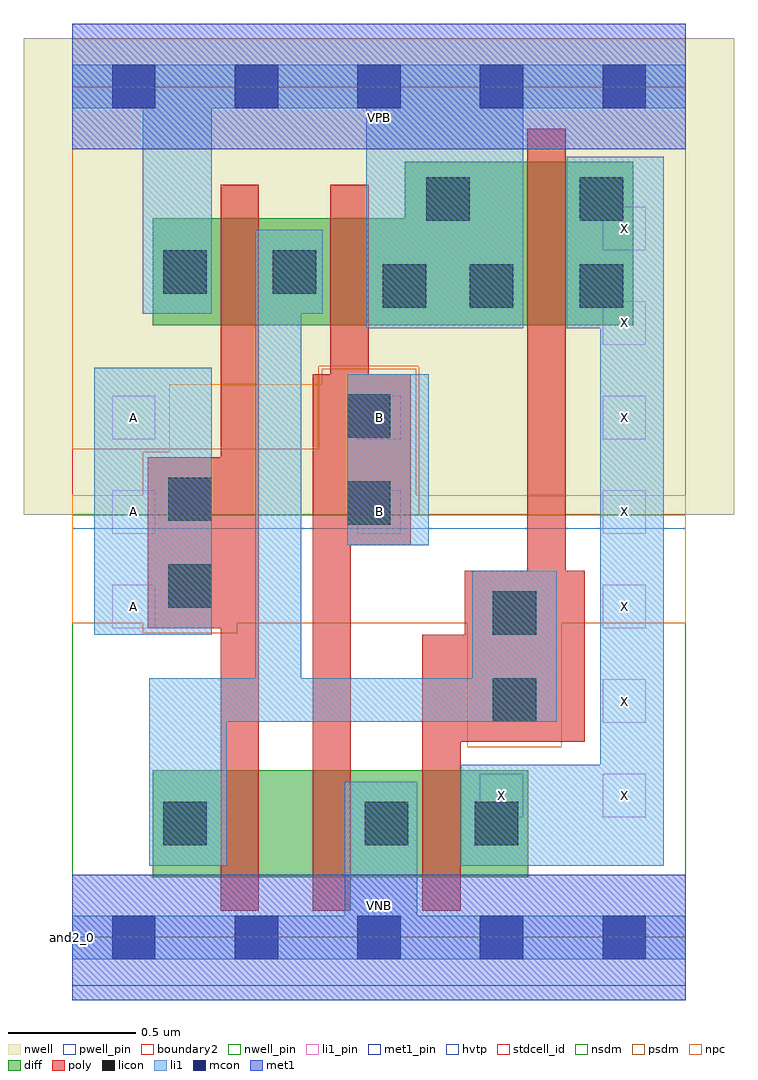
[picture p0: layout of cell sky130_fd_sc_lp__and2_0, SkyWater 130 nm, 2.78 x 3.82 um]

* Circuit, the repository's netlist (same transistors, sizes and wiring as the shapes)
* Copyright 2020 The SkyWater PDK Authors
*
* Licensed under the Apache License, Version 2.0 (the "License");
* you may not use this file except in compliance with the License.
* You may obtain a copy of the License at
*
*     https://www.apache.org/licenses/LICENSE-2.0
*
* Unless required by applicable law or agreed to in writing, software
* distributed under the License is distributed on an "AS IS" BASIS,
* WITHOUT WARRANTIES OR CONDITIONS OF ANY KIND, either express or implied.
* See the License for the specific language governing permissions and
* limitations under the License.
*
* SPDX-License-Identifier: Apache-2.0

.SUBCKT sky130_fd_sc_lp__and2_0 A B VGND VNB VPB VPWR X
*.PININFO A:I B:I VGND:I VNB:I VPB:I VPWR:I X:O
MMP0 y A VPWR VPB sky130_fd_pr__pfet_01v8_hvt m=1 w=0.42U l=0.15U mult=1 sa=0.265
+ sb=0.265 sd=0.28 area=0.063 perim=1.14
MMP1 y B VPWR VPB sky130_fd_pr__pfet_01v8_hvt m=1 w=0.42U l=0.15U mult=1 sa=0.265
+ sb=0.265 sd=0.28 area=0.063 perim=1.14
MMIP0 X y VPWR VPB sky130_fd_pr__pfet_01v8_hvt m=1 w=0.64U l=0.15U mult=1 sa=0.265
+ sb=0.265 sd=0.28 area=0.063 perim=1.14
MMN0 y A sndA VNB sky130_fd_pr__nfet_01v8 m=1 w=0.42U l=0.15U mult=1 sa=0.265 sb=0.265
+ sd=0.28 area=0.063 perim=1.14
MMN1 sndA B VGND VNB sky130_fd_pr__nfet_01v8 m=1 w=0.42U l=0.15U mult=1 sa=0.265
+ sb=0.265 sd=0.28 area=0.063 perim=1.14
MMIN0 X y VGND VNB sky130_fd_pr__nfet_01v8 m=1 w=0.42U l=0.15U mult=1 sa=0.265
+ sb=0.265 sd=0.28 area=0.063 perim=1.14
.ENDS sky130_fd_sc_lp__and2_0

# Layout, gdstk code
import gdstk
lib = gdstk.Library(unit=1e-6, precision=1e-09)
def R(c, l, rs):  # rectangles x0, y0, x1, y1
    for r in rs: c.add(gdstk.rectangle(r[:2], r[2:], *l))
def A(c, l, x, y, w, h, nx, ny, dx, dy):  # array of equal rectangles
    R(c, l, [(x+i*dx, y+j*dy, x+i*dx+w, y+j*dy+h) for i in range(nx) for j in range(ny)])
def P(c, l, *ps):  # polygons
    for p in ps: c.add(gdstk.Polygon(p, *l))
nwell_pin = (64, 16)
nwell = (64, 20)
diff = (65, 20)
poly = (66, 20)
licon = (66, 44)
li1_pin = (67, 16)
li1 = (67, 20)
mcon = (67, 44)
met1_pin = (68, 16)
met1 = (68, 20)
hvtp = (78, 44)
stdcell_id = (81, 4)
nsdm = (93, 44)
psdm = (94, 20)
npc = (95, 20)
pwell_pin = (122, 16)
boundary2 = (236, 0)

sky130_fd_sc_lp__and2_0 = lib.new_cell('sky130_fd_sc_lp__and2_0')
R(sky130_fd_sc_lp__and2_0, nwell_pin, [(0,3.085,2.4,3.33)])
R(sky130_fd_sc_lp__and2_0, nwell, [(-0.19,1.655,2.59,3.52)])
R(sky130_fd_sc_lp__and2_0, diff, [(0.315,0.235,1.785,0.655)])
P(sky130_fd_sc_lp__and2_0, diff, [(2.195,3.035),(1.3,3.035),(1.3,2.815),(0.315,2.815),(0.315,2.395),(2.195,2.395)])
P(sky130_fd_sc_lp__and2_0, poly, [(0.73,2.945),(0.58,2.945),(0.58,1.88),(0.295,1.88),(0.295,1.21),(0.58,1.21),(0.58,0.105),(0.73,0.105)],
  [(1.325,2.205),(1.16,2.205),(1.16,2.945),(1.01,2.945),(1.01,2.205),(0.94,2.205),(0.94,0.105),(1.09,0.105),(1.09,1.535),(1.325,1.535)],
  [(2.005,1.435),(1.93,1.435),(1.93,3.165),(1.78,3.165),(1.78,1.435),(1.535,1.435),(1.535,1.185),(1.37,1.185),(1.37,0.105),(1.52,0.105),(1.52,0.765),(2.005,0.765)])
R(sky130_fd_sc_lp__and2_0, licon, [(0.355,0.36,0.525,0.53), (1.145,0.36,1.315,0.53), (1.575,0.36,1.745,0.53), (1.645,0.845,1.815,1.015), (1.645,1.185,1.815,1.355), (0.375,1.29,0.545,1.46), (1.075,1.615,1.245,1.785), (0.375,1.63,0.545,1.8), (1.075,1.955,1.245,2.125), (1.215,2.465,1.385,2.635), (1.555,2.465,1.725,2.635), (1.985,2.465,2.155,2.635), (0.355,2.52,0.525,2.69), (0.785,2.52,0.955,2.69), (1.385,2.805,1.555,2.975), (1.985,2.805,2.155,2.975)])
A(sky130_fd_sc_lp__and2_0, li1_pin, 2.075, 0.47, 0.17, 0.17, 1, 3, 0, 0.37)
A(sky130_fd_sc_lp__and2_0, li1_pin, 0.155, 1.58, 0.17, 0.17, 3, 2, 0.96, 0.37)
R(sky130_fd_sc_lp__and2_0, li1_pin, [(1.595,0.47,1.765,0.64), (0.155,1.21,0.325,1.38), (2.075,2.32,2.245,2.49), (2.075,2.69,2.245,2.86)])
R(sky130_fd_sc_lp__and2_0, li1, [(0.085,1.185,0.545,2.23), (1.075,1.535,1.395,2.205)])
P(sky130_fd_sc_lp__and2_0, li1, [(2.4,3.415),(0,3.415),(0,3.245),(0.275,3.245),(0.275,2.44),(0.545,2.44),(0.545,3.245),(1.15,3.245),(1.15,2.385),(1.765,2.385),(1.765,3.245),(2.4,3.245)],
  [(1.895,1.435),(1.565,1.435),(1.565,1.015),(0.895,1.015),(0.895,2.44),(0.98,2.44),(0.98,2.77),(0.715,2.77),(0.715,1.015),(0.3,1.015),(0.3,0.28),(0.605,0.28),(0.605,0.845),(1.895,0.845)],
  [(2.315,3.055),(1.935,3.055),(1.935,2.385),(2.065,2.385),(2.065,0.675),(1.52,0.675),(1.52,0.28),(2.315,0.28)],
  [(2.4,0.085),(1.35,0.085),(1.35,0.61),(1.065,0.61),(1.065,0.085),(0,0.085),(0,-0.085),(2.4,-0.085)])
A(sky130_fd_sc_lp__and2_0, mcon, 0.155, -0.085, 0.17, 0.17, 5, 2, 0.48, 3.33)
R(sky130_fd_sc_lp__and2_0, met1_pin, [(0,0,2.4,0.245), (0,3.085,2.4,3.33)])
R(sky130_fd_sc_lp__and2_0, met1, [(0,-0.245,2.4,0.245), (0,3.085,2.4,3.575)])
R(sky130_fd_sc_lp__and2_0, hvtp, [(0,1.6,2.4,3.33)])
R(sky130_fd_sc_lp__and2_0, stdcell_id, [(0,0,2.4,3.33)])
R(sky130_fd_sc_lp__and2_0, nsdm, [(0,-0.19,2.4,1.655)])
P(sky130_fd_sc_lp__and2_0, psdm, [(2.4,3.52),(0,3.52),(0,1.91),(0.965,1.91),(0.965,2.235),(1.355,2.235),(1.355,1.655),(2.4,1.655)])
P(sky130_fd_sc_lp__and2_0, npc, [(2.4,1.73),(1.345,1.73),(1.345,2.225),(0.975,2.225),(0.975,2.165),(0.38,2.165),(0.38,1.9),(0.275,1.9),(0.275,1.73),(0,1.73),(0,1.23),(0.275,1.23),(0.275,1.19),(0.645,1.19),(0.645,1.23),(1.545,1.23),(1.545,0.745),(1.915,0.745),(1.915,1.23),(2.4,1.23)])
R(sky130_fd_sc_lp__and2_0, pwell_pin, [(0,0,2.4,0.245)])
R(sky130_fd_sc_lp__and2_0, boundary2, [(0,0,2.4,3.33)])
sky130_fd_sc_lp__and2_0.add(gdstk.Label('VNB', (1.2,0.123), layer=64, texttype=59))
sky130_fd_sc_lp__and2_0.add(gdstk.Label('VPB', (1.2,3.208), layer=64, texttype=5))
sky130_fd_sc_lp__and2_0.add(gdstk.Label('and2_0', (0,0), layer=83, texttype=44))
sky130_fd_sc_lp__and2_0.add(gdstk.Label('VPWR', (1.2,3.208), layer=68, texttype=5))
sky130_fd_sc_lp__and2_0.add(gdstk.Label('VGND', (1.2,0.123), layer=68, texttype=5))
sky130_fd_sc_lp__and2_0.add(gdstk.Label('X', (1.68,0.555), layer=67, texttype=5))
sky130_fd_sc_lp__and2_0.add(gdstk.Label('X', (2.16,0.555), layer=67, texttype=5))
sky130_fd_sc_lp__and2_0.add(gdstk.Label('A', (0.24,1.295), layer=67, texttype=5))
sky130_fd_sc_lp__and2_0.add(gdstk.Label('A', (0.24,1.665), layer=67, texttype=5))
sky130_fd_sc_lp__and2_0.add(gdstk.Label('A', (0.24,2.035), layer=67, texttype=5))
sky130_fd_sc_lp__and2_0.add(gdstk.Label('B', (1.2,1.665), layer=67, texttype=5))
sky130_fd_sc_lp__and2_0.add(gdstk.Label('B', (1.2,2.035), layer=67, texttype=5))
sky130_fd_sc_lp__and2_0.add(gdstk.Label('X', (2.16,2.775), layer=67, texttype=5))
sky130_fd_sc_lp__and2_0.add(gdstk.Label('X', (2.16,2.405), layer=67, texttype=5))
sky130_fd_sc_lp__and2_0.add(gdstk.Label('X', (2.16,2.035), layer=67, texttype=5))
sky130_fd_sc_lp__and2_0.add(gdstk.Label('X', (2.16,1.665), layer=67, texttype=5))
sky130_fd_sc_lp__and2_0.add(gdstk.Label('X', (2.16,1.295), layer=67, texttype=5))
sky130_fd_sc_lp__and2_0.add(gdstk.Label('X', (2.16,0.925), layer=67, texttype=5))

lib.write_gds('sky130_fd_sc_lp__and2_0.gds')
